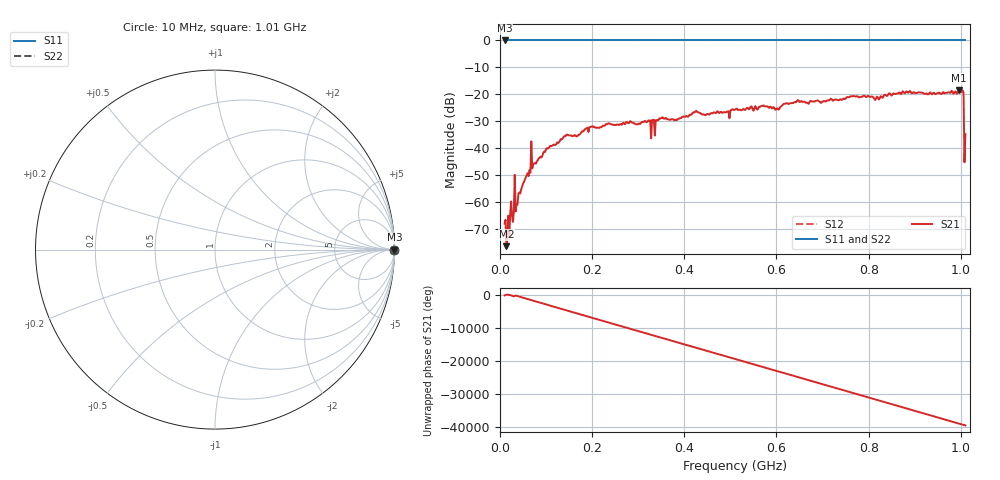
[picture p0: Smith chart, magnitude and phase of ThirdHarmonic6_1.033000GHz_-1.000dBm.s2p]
! 8/16/2025 8:51:34 AM
! C:\ANRITSUVNA\TEMP\TEMP.S2P
! CHANNEL.1
! TR.MEASUREMENT
! RAW.DATA
! RF.CORRECTION.OFF
! AVERAGING.OFF
! IF.BANDWIDTH: 5KHZ
! SWEEPTYPE:  FREQ.SWEEP(Linear)
! Reference Plane Port Info
! PORT:  PORT1  PORT2
! DISTANCE:  0  m  0  m
! TIME:  0  s  0  s
! PHASE.OFFSET:  0  deg.  0  deg.
! LOSS:  0  dB  0  dB
! REF.LOSS:  0  dB  0  dB
! REF.FREQ:  0  Hz  0  Hz
! Power Info
! POWER:  -20  dBm  -20  dBm
! EFF.POWER:  -20  dBm  -20  dBm
! SOURCE.ATTEN:  0  dB  0  dB
! TEST.ATTEN:  0  dB  0  dB
# GHZ S RI R 50.0
! FREQ.GHZ  S11RE  S11IM  S21RE  S21IM  S12RE  S12IM  S22RE  S22IM
!; PortSelection: Port_12
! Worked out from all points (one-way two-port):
!   501 points, 10 MHz to 1.01 GHz, reference 50 ohm
!   highest |S21| = -18.47 dB at 996 MHz (marker M1); lowest = -76.3 dB at 14 MHz (marker M2)
!   lowest |S11| = 0.0 dB at 10 MHz (marker M3)
!   |S11| at or under -10 dB: nowhere
!   |S22| runs from 0.0 to 0.0 dB; largest |S21 - S12| = 1.1
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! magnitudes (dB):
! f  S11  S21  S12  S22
! 10 MHz  0.0  -67.9  0.0  0.0
! 14 MHz  0.0  -76.3  0.0  0.0
! 18 MHz  0.0  -65.0  0.0  0.0
! 28 MHz  0.0  -67.3  0.0  0.0
! 36 MHz  0.0  -60.6  0.0  0.0
! 38 MHz  0.0  -60.8  0.0  0.0
! 72 MHz  0.0  -45.9  0.0  0.0
! 74 MHz  0.0  -45.6  0.0  0.0
! 142 MHz  0.0  -35.5  0.0  0.0
! 178 MHz  0.0  -33.6  0.0  0.0
! 280 MHz  0.0  -30.6  0.0  0.0
! 322 MHz  0.0  -29.7  0.0  0.0
! 332 MHz  0.0  -29.8  0.0  0.0
! 344 MHz  0.0  -29.4  0.0  0.0
! 510 MHz  0.0  -25.7  0.0  0.0
! 602 MHz  0.0  -25.1  0.0  0.0
! 678 MHz  0.0  -22.7  0.0  0.0
! 844 MHz  0.0  -19.7  0.0  0.0
! 996 MHz  0.0  -18.5  0.0  0.0
! 1.002 GHz  0.0  -19.0  0.0  0.0
! 1.004 GHz  0.0  -18.5  0.0  0.0
! 1.01 GHz  0.0  -34.7  0.0  0.0
